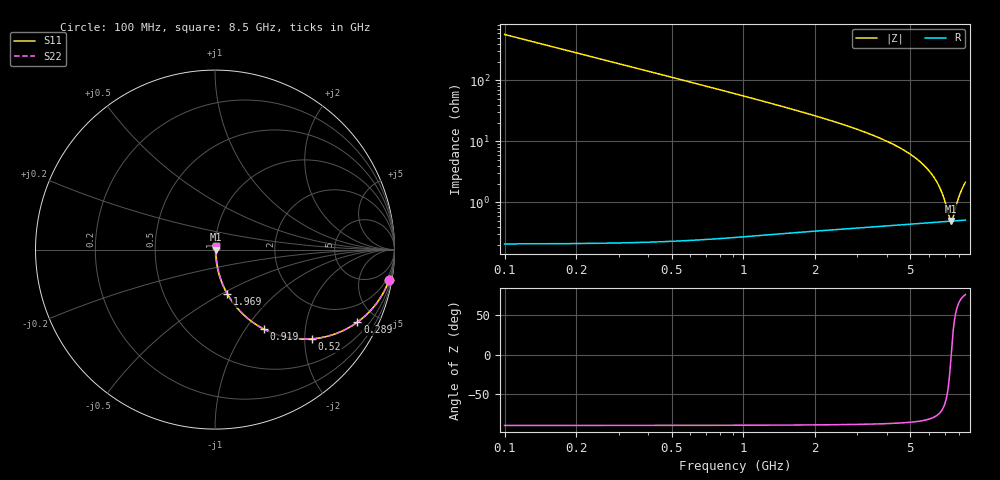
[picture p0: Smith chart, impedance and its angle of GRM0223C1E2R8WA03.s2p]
!Murata Part Number: GRM0223C1E2R8WA03
!These Parameters are Measured in Series Mode Connection
!Data Generated on Mar 30, 2021
!  o--ll--o
!Port1  Port2
!  o------o
!Operation Temp=25[degC], DC Bias Voltage=0[V]
!Freq. Start=100[MHz] Stop=9[GHz] 401[Steps]
# Hz S RI R 50
!Freq.(Hz) S11(Real) S11(Imag) S21(Real) S21(Imag) S12(Real) S12(Imag) S22(Real) S22(Imag)
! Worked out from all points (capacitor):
!   401 points, 100 MHz to 8.5 GHz, reference 50 ohm
!   read as one part in series: C = 2.8 pF near 142 MHz
!   lowest |Z| = 493 mohm at 7.408 GHz (marker M1)
!   series resonance near 7.415 GHz, so ESL is about 160 pH
!   S11 on the Smith chart (normalised r, x): 100 MHz: 1, -11; 289 MHz: 1.00, -3.93; 520 MHz: 1.00, -2.17; 919 MHz: 1.01, -1.22; 1.969 GHz: 1.01, -0.53; 8.5 GHz: 1.01, +0.04
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1e8  0.9699 -0.1707  0.0301 0.1707  0.0301 0.1707  0.9699 -0.1707
2.05e8  0.8845 -0.3192  0.1155 0.3192  0.1155 0.3192  0.8845 -0.3192
2.89e8  0.7938 -0.404  0.2062 0.404  0.2062 0.404  0.7938 -0.404
3.94e8  0.6738 -0.468  0.3262 0.468  0.3262 0.468  0.6738 -0.468
5.2e8  0.5416 -0.4972  0.4584 0.4972  0.4584 0.4972  0.5416 -0.4972
7.09e8  0.3868 -0.4855  0.6132 0.4855  0.6132 0.4855  0.3868 -0.4855
9.19e8  0.2709 -0.4422  0.7291 0.4422  0.7291 0.4422  0.2709 -0.4422
1.171e9  0.1839 -0.3844  0.8161 0.3844  0.8161 0.3844  0.1839 -0.3844
1.507e9  0.1172 -0.3174  0.8828 0.3174  0.8828 0.3174  0.1172 -0.3174
1.969e9  0.0694 -0.248  0.9306 0.248  0.9306 0.248  0.0694 -0.248
2.914e9  0.0297 -0.1586  0.9703 0.1586  0.9703 0.1586  0.0297 -0.1586
4.3e9  0.0116 -0.0857  0.9884 0.0857  0.9884 0.0857  0.0116 -0.0857
5.707e9  0.00614 -0.0398  0.9939 0.0398  0.9939 0.0398  0.00614 -0.0398
6.169e9  0.00543 -0.0278  0.9946 0.0278  0.9946 0.0278  0.00543 -0.0278
6.547e9  0.00509 -0.0187  0.9949 0.0187  0.9949 0.0187  0.00509 -0.0187
6.841e9  0.00495 -0.0121  0.9951 0.0121  0.9951 0.0121  0.00495 -0.0121
7.114e9  0.00489 -0.00622  0.9951 0.00622  0.9951 0.00622  0.00489 -0.00622
7.303e9  0.00489 -0.00228  0.9951 0.00228  0.9951 0.00228  0.00489 -0.00228
7.408e9  0.00491 -0.000138  0.9951 0.000138  0.9951 0.000138  0.00491 -0.000138
7.534e9  0.00493 0.00239  0.9951 -0.00239  0.9951 -0.00239  0.00493 0.00239
8.038e9  0.00516 0.0121  0.9948 -0.0121  0.9948 -0.0121  0.00516 0.0121
8.5e9  0.00551 0.0205  0.9945 -0.0205  0.9945 -0.0205  0.00551 0.0205
